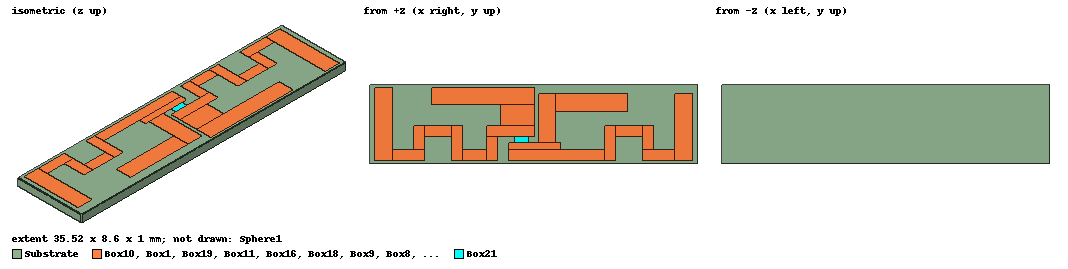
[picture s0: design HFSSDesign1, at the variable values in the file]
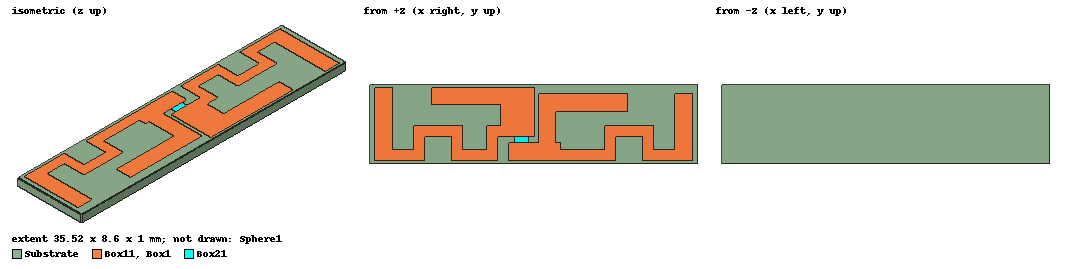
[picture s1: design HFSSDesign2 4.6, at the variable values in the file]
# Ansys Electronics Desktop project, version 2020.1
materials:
  vacuum: permittivity=1
  FR4_epoxy: permittivity=4.4 dielectric_loss_tangent=0.02
  copper: permeability=0.999991 conductivity=58000000
  FR4_epoxy 4.6: permittivity=4.6 dielectric_loss_tangent=0.02

design HFSSDesign1 (HFSS, DrivenModal, model units mm)
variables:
  w_sub = 35.52mm
  l_sub = 8.6mm
  h_sub = 1mm
  copper_h = 0mm
  x_separation = 0.56mm
  y_separation = 0.3mm
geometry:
  Substrate [FR4_epoxy] = box(corner=(0, 0, -h_sub), size=(w_sub, l_sub, h_sub))
  Box1 [copper, solve inside] = box(corner=(x_separation, y_separation, 0), size=(1.9mm, 8mm, copper_h))
  Box2 [copper, solve inside] = box(corner=(x_separation+1.9mm, y_separation, 0), size=(3.5mm, 1.2mm, copper_h))
  Box3 [copper, solve inside] = box(corner=(x_separation+4.2mm, y_separation+1.2mm, 0), size=(1.2mm, 2.65mm, copper_h))
  Box4 [copper, solve inside] = box(corner=(x_separation+5.4mm, y_separation+2.65mm, 0), size=(2.9mm, 1.2mm, copper_h))
  Box5 [copper, solve inside] = box(corner=(x_separation+8.3mm, y_separation, 0), size=(1.2mm, 3.85mm, copper_h))
  Box6 [copper, solve inside] = box(corner=(x_separation+9.5mm, y_separation, 0), size=(2.65mm, 1.2mm, copper_h))
  Box7 [copper, solve inside] = box(corner=(x_separation+12.15mm, y_separation, 0), size=(1.2mm, 2.65mm, copper_h))
  Box8 [copper, solve inside] = box(corner=(x_separation+12.15mm, y_separation+2.65mm, 0), size=(5.15mm, 1.2mm, copper_h))
  Box9 [copper, solve inside] = box(corner=(x_separation+13.65mm, y_separation+3.85mm, 0), size=(3.65mm, 2.25mm, copper_h))
  Box10 [copper, solve inside] = box(corner=(x_separation+6.2mm, y_separation+6.1mm, 0), size=(11.1mm, 1.9mm, copper_h))
  Box11 [copper, solve inside] = box(corner=(x_separation, y_separation, 0), size=(1.9mm, 7.25mm, copper_h))
  Box12 [copper, solve inside] = box(corner=(x_separation+1.9mm, y_separation, 0), size=(3.5mm, 1.2mm, copper_h))
  Box13 [copper, solve inside] = box(corner=(x_separation+4.2mm, y_separation+1.2mm, 0), size=(1.2mm, 2.65mm, copper_h))
  Box14 [copper, solve inside] = box(corner=(x_separation+5.4mm, y_separation+2.65mm, 0), size=(2.9mm, 1.2mm, copper_h))
  Box15 [copper, solve inside] = box(corner=(x_separation+8.3mm, y_separation, 0), size=(1.2mm, 3.85mm, copper_h))
  [Box11..Box15].mirror(point=(17.76mm, 0mm, 0mm), normal=(1mm, 0mm, 0mm))
  Box16 [copper, solve inside] = box(corner=(x_separation+14.5mm, y_separation, 0), size=(10.4mm, 1.2mm, copper_h))
  Box17 [copper, solve inside] = box(corner=(x_separation+14.5mm, y_separation+1.2mm, 0), size=(5.6mm, 0.8mm, copper_h))
  Box18 [copper, solve inside] = box(corner=(x_separation+17.7mm, y_separation+2mm, 0), size=(1.9mm, 5.25mm, copper_h))
  Box19 [copper, solve inside] = box(corner=(x_separation+19.6mm, y_separation+5.35mm, 0), size=(7.75mm, 1.9mm, copper_h))
  Sphere1 [vacuum] = sphere(centre=(17.86mm, 4.15mm, 0.03556mm), radius=44.072705mm)
  Box21 [copper] = box(corner=(x_separation+14.5mm+0.65mm, y_separation+2mm, 0mm), size=(1.5mm, 0.65mm, copper_h))
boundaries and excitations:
  Rad1: Radiation Objects=Sphere1
  PerfE1: Perfect E Objects=[Box1..Box19]
  p1: Lumped Port Objects=Box21 Modes{Mode1{IntLine{middle of Box21.edge(2 of 4) -> middle of Box21.edge(4 of 4)} CharImp=Zpi RenormImp=50ohm}} Impedance=50ohm
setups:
  Setup1: HfssDriven Frequency=2.4GHz MaxDeltaS=0.02 MaximumPasses=20 MinimumPasses=1 MinimumConvergedPasses=1 PercentRefinement=30 BasisOrder=1 PortAccuracy=2
    sweep Sweep: 2GHz to 3GHz, 21 points; Type=Discrete SaveFields
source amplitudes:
  p1:1: 1W 0deg
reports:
  S Parameter Plot 1: dB(S(p1,p1)) vs Freq on Setup1 : Sweep; markers MY1 at y=-10.127

design HFSSDesign2 4.6 (HFSS, DrivenModal, model units mm)
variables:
  w_sub = 35.52mm
  l_sub = 8.6mm
  h_sub = 1mm
  copper_h = 0mm
  x_separation = 0.56mm
  y_separation = 0.3mm
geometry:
  Substrate [FR4_epoxy 4.6] = box(corner=(0, 0, -h_sub), size=(w_sub, l_sub, h_sub))
  Box1 [copper, solve inside] = box(corner=(x_separation, y_separation, 0), size=(1.9mm, 8mm, copper_h))
  Box2 = box(corner=(x_separation+1.9mm, y_separation, 0), size=(3.5mm, 1.2mm, copper_h))
  Box3 = box(corner=(x_separation+4.2mm, y_separation+1.2mm, 0), size=(1.2mm, 2.65mm, copper_h))
  Box4 = box(corner=(x_separation+5.4mm, y_separation+2.65mm, 0), size=(2.9mm, 1.2mm, copper_h))
  Box5 = box(corner=(x_separation+8.3mm, y_separation, 0), size=(1.2mm, 3.85mm, copper_h))
  Box6 = box(corner=(x_separation+9.5mm, y_separation, 0), size=(2.65mm, 1.2mm, copper_h))
  Box7 = box(corner=(x_separation+12.15mm, y_separation, 0), size=(1.2mm, 2.65mm, copper_h))
  Box8 = box(corner=(x_separation+12.15mm, y_separation+2.65mm, 0), size=(5.15mm, 1.2mm, copper_h))
  Box9 = box(corner=(x_separation+13.65mm, y_separation+3.85mm, 0), size=(3.65mm, 2.25mm, copper_h))
  Box10 = box(corner=(x_separation+6.2mm, y_separation+6.1mm, 0), size=(11.1mm, 1.9mm, copper_h))
  Box11 [copper, solve inside] = box(corner=(x_separation, y_separation, 0), size=(1.9mm, 7.25mm, copper_h))
  Box12 = box(corner=(x_separation+1.9mm, y_separation, 0), size=(3.5mm, 1.2mm, copper_h))
  Box13 = box(corner=(x_separation+4.2mm, y_separation+1.2mm, 0), size=(1.2mm, 2.65mm, copper_h))
  Box14 = box(corner=(x_separation+5.4mm, y_separation+2.65mm, 0), size=(2.9mm, 1.2mm, copper_h))
  Box15 = box(corner=(x_separation+8.3mm, y_separation, 0), size=(1.2mm, 3.85mm, copper_h))
  [Box11..Box15].mirror(point=(17.76mm, 0mm, 0mm), normal=(1mm, 0mm, 0mm))
  Box16 = box(corner=(x_separation+14.5mm, y_separation, 0), size=(10.4mm, 1.2mm, copper_h))
  Box17 = box(corner=(x_separation+14.5mm, y_separation+1.2mm, 0), size=(5.6mm, 0.8mm, copper_h))
  Box18 = box(corner=(x_separation+17.7mm, y_separation+2mm, 0), size=(1.9mm, 5.25mm, copper_h))
  Box19 = box(corner=(x_separation+19.6mm, y_separation+5.35mm, 0), size=(7.75mm, 1.9mm, copper_h))
  Sphere1 [vacuum] = sphere(centre=(17.86mm, 4.15mm, 0.03556mm), radius=100mm)
  Box21 [copper] = box(corner=(x_separation+14.5mm+0.65mm, y_separation+2mm, 0mm), size=(1.5mm, 0.65mm, copper_h))
  [Substrate, Box1..Box19, Sphere1, Box21].move(-17.76mm, -4.3mm, 0mm)
  Box1.unite(Box2..Box10)
  Box11.unite(Box12..Box19)
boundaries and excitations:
  Rad1: Radiation Objects=Sphere1
  PerfE1: Perfect E Objects=[Box1, Box11]
  p1: Lumped Port Objects=Box21 Modes{Mode1{IntLine{middle of Box21.edge(2 of 4) -> middle of Box21.edge(4 of 4)} CharImp=Zpi RenormImp=50ohm}} Impedance=50ohm
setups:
  Setup1: HfssDriven Frequency=2.4GHz MaxDeltaS=0.02 MaximumPasses=20 MinimumPasses=1 MinimumConvergedPasses=1 PercentRefinement=30 BasisOrder=1 PortAccuracy=2
    sweep Sweep: 2GHz to 3GHz, 21 points; Type=Discrete SaveFields
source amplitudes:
  p1:1: 1W 0deg
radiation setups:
  Infinite Sphere1: Infinite Sphere Theta=-180deg..180deg step 1deg Phi=-180deg..180deg step 1deg
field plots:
  Vector_Jsurf1: Jsurf over Box1.face(1 of 1) Box11.face(1 of 1) on Setup1 : Sweep at Freq=2.52GHz Phase=0deg
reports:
  S Parameter Plot 1: dB(S(p1,p1)) vs Freq on Setup1 : Sweep; markers MY1 at y=-9.9637
  Gain Plot 1: dB(GainTotal) vs Phi, Theta on Setup1 : Sweep, Infinite Sphere1 [Freq=5GHz]
